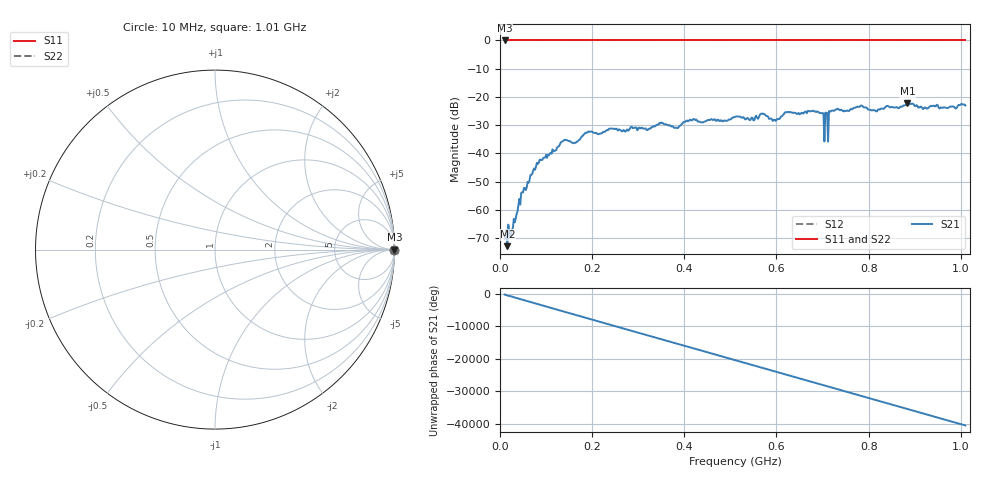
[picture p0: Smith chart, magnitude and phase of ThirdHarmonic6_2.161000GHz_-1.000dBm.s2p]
! 8/17/2025 1:47:49 AM
! C:\ANRITSUVNA\TEMP\TEMP.S2P
! CHANNEL.1
! TR.MEASUREMENT
! RAW.DATA
! RF.CORRECTION.OFF
! AVERAGING.OFF
! IF.BANDWIDTH: 5KHZ
! SWEEPTYPE:  FREQ.SWEEP(Linear)
! Reference Plane Port Info
! PORT:  PORT1  PORT2
! DISTANCE:  0  m  0  m
! TIME:  0  s  0  s
! PHASE.OFFSET:  0  deg.  0  deg.
! LOSS:  0  dB  0  dB
! REF.LOSS:  0  dB  0  dB
! REF.FREQ:  0  Hz  0  Hz
! Power Info
! POWER:  -20  dBm  -20  dBm
! EFF.POWER:  -20  dBm  -20  dBm
! SOURCE.ATTEN:  0  dB  0  dB
! TEST.ATTEN:  0  dB  0  dB
# GHZ S RI R 50.0
! FREQ.GHZ  S11RE  S11IM  S21RE  S21IM  S12RE  S12IM  S22RE  S22IM
!; PortSelection: Port_12
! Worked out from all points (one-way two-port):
!   501 points, 10 MHz to 1.01 GHz, reference 50 ohm
!   highest |S21| = -22.32 dB at 884 MHz (marker M1); lowest = -72.8 dB at 16 MHz (marker M2)
!   lowest |S11| = 0.0 dB at 10 MHz (marker M3)
!   |S11| at or under -10 dB: nowhere
!   |S22| runs from 0.0 to 0.0 dB; largest |S21 - S12| = 1.1
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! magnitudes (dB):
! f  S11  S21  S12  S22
! 10 MHz  0.0  -70.3  0.0  0.0
! 16 MHz  0.0  -72.8  0.0  0.0
! 24 MHz  0.0  -69.3  0.0  0.0
! 50 MHz  0.0  -53.8  0.0  0.0
! 84 MHz  0.0  -43.4  0.0  0.0
! 136 MHz  0.0  -35.7  0.0  0.0
! 178 MHz  0.0  -33.9  0.0  0.0
! 344 MHz  0.0  -29.7  0.0  0.0
! 382 MHz  0.0  -30.9  0.0  0.0
! 416 MHz  0.0  -28.3  0.0  0.0
! 510 MHz  0.0  -27.1  0.0  0.0
! 570 MHz  0.0  -26.0  0.0  0.0
! 596 MHz  0.0  -28.1  0.0  0.0
! 622 MHz  0.0  -25.5  0.0  0.0
! 678 MHz  0.0  -24.9  0.0  0.0
! 698 MHz  0.0  -25.8  0.0  0.0
! 708 MHz  0.0  -25.6  0.0  0.0
! 718 MHz  0.0  -25.1  0.0  0.0
! 730 MHz  0.0  -24.4  0.0  0.0
! 844 MHz  0.0  -23.4  0.0  0.0
! 884 MHz  0.0  -22.3  0.0  0.0
! 1.01 GHz  0.0  -23.0  0.0  0.0
